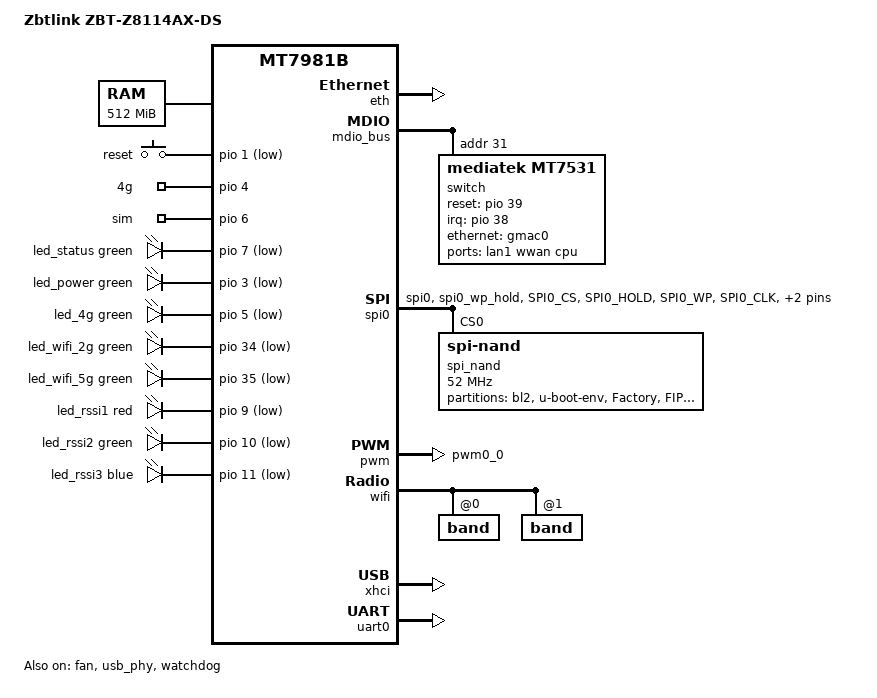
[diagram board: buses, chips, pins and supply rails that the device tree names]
// SPDX-License-Identifier: GPL-2.0-or-later OR MIT

/dts-v1/;

#include <dt-bindings/gpio/gpio.h>
#include <dt-bindings/input/input.h>
#include <dt-bindings/leds/common.h>

#include "mt7981b.dtsi"

/ {
	model = "Zbtlink ZBT-Z8114AX-DS";
	compatible = "zbtlink,zbt-z8114ax-ds", "mediatek,mt7981b";

	aliases {
		serial0 = &uart0;
		led-boot = &led_status;
		led-failsafe = &led_status;
		led-running = &led_status;
		led-upgrade = &led_status;
		label-mac-device = &gmac0;
	};

	chosen {
		stdout-path = "serial0:115200n8";
		bootargs = "earlycon=uart8250,mmio32,0x11002000 console=ttyS0,115200n8";
	};

	memory@40000000 {
		reg = <0 0x40000000 0 0x20000000>;
		device_type = "memory";
	};

	gpio-keys {
		compatible = "gpio-keys";

		button-reset {
			label = "reset";
			linux,code = <KEY_RESTART>;
			gpios = <&pio 1 GPIO_ACTIVE_LOW>;
		};
	};

	gpio-export {
		compatible = "gpio-export";

		4g {
			gpio-export,name = "4g";
			gpio-export,output = <1>;      // Network Module on at boot
			gpios = <&pio 4 GPIO_ACTIVE_HIGH>;
		};

		sim {
			gpio-export,name = "sim";
			gpio-export,output = <0>;      /* SIM1 by default */
			gpios = <&pio 6 GPIO_ACTIVE_HIGH>;
		};
	};

	leds {
		compatible = "gpio-leds";

		led_status: status {
			function = LED_FUNCTION_STATUS;
			color = <LED_COLOR_ID_GREEN>;
			gpios = <&pio 7 GPIO_ACTIVE_LOW>;
		};

		led_power: power {
			function = LED_FUNCTION_POWER;
			color = <LED_COLOR_ID_GREEN>;
			gpios = <&pio 3 GPIO_ACTIVE_LOW>;
		};

		led_4g: mobile {
			function = LED_FUNCTION_MOBILE;
			color = <LED_COLOR_ID_GREEN>;
			gpios = <&pio 5 GPIO_ACTIVE_LOW>;
		};

		led_wifi_2g: wifi-2g {
			color = <LED_COLOR_ID_GREEN>;
			function = LED_FUNCTION_WLAN_2GHZ;
			gpios = <&pio 34 GPIO_ACTIVE_LOW>;
			linux,default-trigger = "phy0tpt";
		};

		led_wifi_5g: wifi-5g {
			color = <LED_COLOR_ID_GREEN>;
			function = LED_FUNCTION_WLAN_5GHZ;
			gpios = <&pio 35 GPIO_ACTIVE_LOW>;
			linux,default-trigger = "phy1tpt";
		};

		led_rssi1: rssi-red {
			function = "rssi";
			color = <LED_COLOR_ID_RED>;
			gpios = <&pio 9 GPIO_ACTIVE_LOW>;
		};

		led_rssi2: rssi-green {
			function = "rssi";
			color = <LED_COLOR_ID_GREEN>;
			gpios = <&pio 10 GPIO_ACTIVE_LOW>;
		};

		led_rssi3: rssi-blue {
			function = "rssi";
			color = <LED_COLOR_ID_BLUE>;
			gpios = <&pio 11 GPIO_ACTIVE_LOW>;
		};
	};
};

&eth {
	pinctrl-names = "default";
	pinctrl-0 = <&mdio_pins>;
	status = "okay";

	// LAN
	gmac0: mac@0 {
		compatible = "mediatek,eth-mac";
		reg = <0>;
		phy-mode = "2500base-x";

		nvmem-cell-names = "mac-address";
		nvmem-cells = <&macaddr_factory_2a 0>;

		fixed-link {
			speed = <2500>;
			full-duplex;
			pause;
		};
	};

	// WAN
	gmac1: mac@1 {
		compatible = "mediatek,eth-mac";
		reg = <1>;
		phy-mode = "gmii";
		phy-handle = <&int_gbe_phy>;
		nvmem-cell-names = "mac-address";
		nvmem-cells = <&macaddr_factory_24 0>;
	};
};

&mdio_bus {
	switch: switch@1f {
		compatible = "mediatek,mt7531";
		reg = <31>;
		reset-gpios = <&pio 39 GPIO_ACTIVE_HIGH>;
		interrupt-controller;
		#interrupt-cells = <1>;
		interrupt-parent = <&pio>;
		interrupts = <38 IRQ_TYPE_LEVEL_HIGH>;
	};
};

&switch {
	ports {
		#address-cells = <1>;
		#size-cells = <0>;

		port@0 {
			reg = <0>;
			label = "lan1";
		};

		/* 5G Module Ethernet data path, usb0 is the same modem over USB */
		port@4 {
			reg = <4>;
			label = "wwan";
		};

		port@6 {
			reg = <6>;
			label = "cpu";
			ethernet = <&gmac0>;
			phy-mode = "2500base-x";

			fixed-link {
				speed = <2500>;
				full-duplex;
				pause;
			};
		};
	};
};

&spi0 {
	pinctrl-names = "default";
	pinctrl-0 = <&spi0_flash_pins>;
	status = "okay";

	spi_nand@0 {
		compatible = "spi-nand";
		reg = <0>;

		spi-max-frequency = <52000000>;
		spi-tx-bus-width = <4>;
		spi-rx-bus-width = <4>;

		mediatek,nmbm;
		mediatek,bmt-max-ratio = <1>;
		mediatek,bmt-max-reserved-blocks = <64>;

		partitions {
			compatible = "fixed-partitions";
			#address-cells = <1>;
			#size-cells = <1>;

			partition@0 {
				label = "bl2";
				reg = <0x0000000 0x0100000>;
				read-only;
			};

			partition@100000 {
				label = "u-boot-env";
				reg = <0x100000 0x80000>;
			};

			partition@180000 {
				label = "Factory";
				reg = <0x180000 0x200000>;
				read-only;

				nvmem-layout {
					compatible = "fixed-layout";
					#address-cells = <1>;
					#size-cells = <1>;

					eeprom_factory: eeprom@0 {
						reg = <0x0 0x1000>;
					};

					// Wifi 2.4G
					macaddr_factory_4: macaddr@4 {
						reg = <0x4 0x6>;
						compatible = "mac-base";
						#nvmem-cell-cells = <1>;
					};

					// Wifi 5G
					macaddr_factory_a: macaddr@a {
						reg = <0xa 0x6>;
						compatible = "mac-base";
						#nvmem-cell-cells = <1>;
					};

					// LAN
					macaddr_factory_2a: macaddr@2a {
						reg = <0x2a 0x6>;
						compatible = "mac-base";
						#nvmem-cell-cells = <1>;
					};

					// WAN
					macaddr_factory_24: macaddr@24 {
						reg = <0x24 0x6>;
						compatible = "mac-base";
						#nvmem-cell-cells = <1>;
					};
				};
			};

			partition@380000 {
				label = "FIP";
				reg = <0x380000 0x200000>;
				read-only;
			};

			nand_rootfs: partition@580000 {
				label = "ubi";
				reg = <0x580000 0x7280000>;
			};
		};
	};
};

&pio {
	spi0_flash_pins: spi0-pins {
		mux {
			function = "spi";
			groups = "spi0", "spi0_wp_hold";
		};

		conf-pu {
			pins = "SPI0_CS", "SPI0_HOLD", "SPI0_WP";
			drive-strength = <MTK_DRIVE_8mA>;
			bias-pull-up = <MTK_PUPD_SET_R1R0_11>;
		};

		conf-pd {
			pins = "SPI0_CLK", "SPI0_MOSI", "SPI0_MISO";
			drive-strength = <MTK_DRIVE_8mA>;
			bias-pull-down = <MTK_PUPD_SET_R1R0_11>;
		};
	};

	pwm0_pins: pwm0-pins {
		mux {
			function = "pwm";
			groups = "pwm0_0";
		};
	};
};

&pwm {
	pinctrl-names = "default";
	pinctrl-0 = <&pwm0_pins>;
	status = "okay";
};

&fan {
	pwms = <&pwm 0 100000 0>;
	status = "okay";
};

&cpu_trip_active_low {
	temperature = <50000>;
};

&cpu_trip_active_med {
	temperature = <60000>;
};

&cpu_trip_active_high {
	temperature = <70000>;
};

&wifi {
	status = "okay";
	nvmem-cells = <&eeprom_factory>;
	nvmem-cell-names = "eeprom";
	#address-cells = <1>;
	#size-cells = <0>;

	band@0 {
		reg = <0>;
		nvmem-cells = <&macaddr_factory_4 0>;
		nvmem-cell-names = "mac-address";
	};

	band@1 {
		reg = <1>;
		nvmem-cells = <&macaddr_factory_a 0>;
		nvmem-cell-names = "mac-address";
	};
};

&usb_phy {
	status = "okay";
};

&xhci {
	status = "okay";
};

&uart0 {
	status = "okay";
};

&watchdog {
	status = "okay";
};
